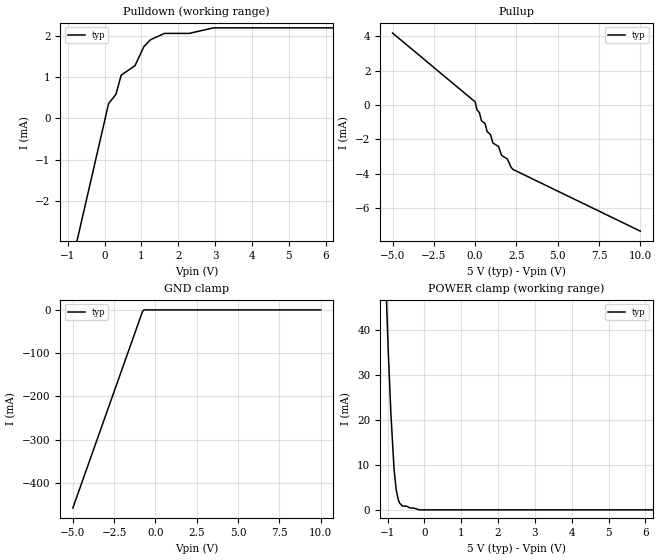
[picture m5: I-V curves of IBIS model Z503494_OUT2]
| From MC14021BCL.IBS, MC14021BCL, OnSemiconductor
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| (C) COPYRIGHT 1993-2000
| MENTOR GRAPHICS CORPORATION
| ICX STANDARD LIBRARY, ICX PROJECT MODELING,
| ICX CUSTOM MODELING, ICX VENDOR MODEL
| ALL RIGHTS RESERVED.
| THE FOLLOWING ARE TRADEMARKS OR SERVICE MARKS OF
| MENTOR GRAPHICS CORPORATION:ICX (R), ICX STANDARD
| LIBRARY(R), ICX PROJECT MODELING(R), ICX CUSTOM
| MODELING(R), qualityIBIS(TM), MODELVIEWER(TM),
| AND MODELEDITOR(TM)
| ALL COPIES OF SOFTWARE, INCLUDING BUT NOT LIMITED TO
| ANY MODIFICATIONS, ENHANCEMENTS OR DERIVATIVE WORKS,
| MUST CONTAIN ALL MENTOR GRAPHICS CORPORATION'S
| NOTICES AND LEGENDS, INCLUDING THOSE EMBEDDED IN
| SOFTWARE AND THOSE AFFIXED TO SOFTWARE MEDIUM
| AND CONTAINER, AS RECEIVED FROM MENTOR GRAPHICS
| CORPORATION.
| Model Application Version 1.89 2/18/99.
[Model] Z503494_OUT2
Model_type Output
Vref=0.000V
Rref=500.0Mohms
Cref=50.00pF
Vmeas=2.500V
C_comp 8.000pF NA NA
| variable typ   min   max
[Voltage Range] 5.000V NA NA
[POWER Clamp Reference] 5.000V NA NA
[Pullup Reference] 5.000V NA NA
[Pulldown Reference] 0.000V NA NA
[GND Clamp Reference] 0.000V NA NA
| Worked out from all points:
|   slope of the pulldown table from 0 to 0.75 V, typ, clamps not added: 585 ohm
|   slope of the pullup table from 0 to 0.75 V, typ, clamps not added: 430 ohm
|   GND clamp passes 1 mA (typ) near -0.73 V on its own axis
|   POWER clamp passes 1 mA (typ) near -0.61 V on its own axis
[GND Clamp]
-5V       -458.4mA   NA         NA
-800.5mV  -5.742mA   NA         NA
-727.5mV  -963.5uA   NA         NA
-646.7mV  0A         NA         NA
10V       0A         NA         NA
[Pulldown]
-5V       -19.36mA   NA         NA
107.2mV   360.2uA    NA         NA
306.7mV   582.5uA    NA         NA
448.2mV   1.044mA    NA         NA
825.2mV   1.274mA    NA         NA
1.064V    1.731mA    NA         NA
1.245V    1.898mA    NA         NA
1.624V    2.051mA    NA         NA
2.292V    2.051mA    NA         NA
2.959V    2.185mA    NA         NA
10V       2.185mA    NA         NA
[Pullup]
-5V       4.184mA    NA         NA
5mV       179.7uA    NA         NA
382mV     -911.4uA   NA         NA
601mV     -1.073mA   NA         NA
723mV     -1.535mA   NA         NA
923mV     -1.714mA   NA         NA
1.078V    -2.209mA   NA         NA
1.417V    -2.407mA   NA         NA
1.598V    -2.92mA    NA         NA
1.958V    -3.143mA   NA         NA
2.295V    -3.742mA   NA         NA
10V       -7.326mA   NA         NA
[POWER Clamp]
-5V       1.192A     NA         NA
-1.152V   76.07mA    NA         NA
-977mV    34.56mA    NA         NA
-908mV    21.32mA    NA         NA
-824mV    9.167mA    NA         NA
-766mV    4.565mA    NA         NA
-708mV    2.266mA    NA         NA
-671mV    1.499mA    NA         NA
-596mV    854.5uA    NA         NA
-473mV    792.9uA    NA         NA
-136.5mV  0A         NA         NA
10V       0A         NA         NA
[Ramp]
| variable typ min max
dV/dt_r 2.477/14.86n NA NA
dV/dt_f 2.477/17.16n NA NA
R_load = 2.500kOhms
